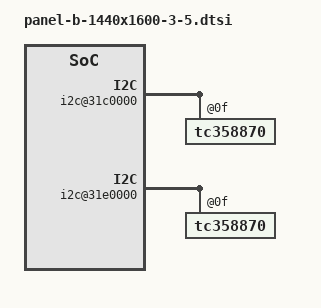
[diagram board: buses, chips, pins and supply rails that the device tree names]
/*
 * arch/arm/boot/dts/panel-b-1440-1600-3-5.dtsi
 *
 * Copyright (c) 2017, NVIDIA CORPORATION.  All rights reserved.
 *
 * This program is free software; you can redistribute it and/or modify
 * it under the terms of the GNU General Public License as published by
 * the Free Software Foundation; either version 2 of the License, or
 * (at your option) any later version.
 *
 * This program is distributed in the hope that it will be useful, but WITHOUT
 * ANY WARRANTY; without even the implied warranty of MERCHANTABILITY or
 * FITNESS FOR A PARTICULAR PURPOSE.  See the GNU General Public License for
 * more details.
 *
 * You should have received a copy of the GNU General Public License along
 * with this program; if not, write to the Free Software Foundation, Inc.,
 * 51 Franklin Street, Fifth Floor, Boston, MA  02110-1301, USA.
 */
#include <dt-bindings/display/tegra-dc.h>
#include <dt-bindings/display/tegra-panel.h>

/ {
	i2c@31c0000 {
		tc358870@0f {
			panel-b-1440-1600-3-5 {
				status = "okay";
				compatible = "b,1440-1600-3-5";
				nvidia,panel-id = <0>;
				nvidia,dsi-n-data-lanes = <8>;
				nvidia,dsi-init-cmd =
							/* Long  Packet: <PACKETTYPE[u8] COMMANDID[u8] PAYLOADCOUNT[u16] ECC[u8] PAYLOAD[..] CHECKSUM[u16]> */
							/* Short Packet: <PACKETTYPE[u8] COMMANDID[u8] DATA0[u8] DATA1[u8] ECC[u8]> */
							/* For DSI packets each DT cell is interpreted as u8 not u32 */
							<TEGRA_DSI_PACKET_CMD DSI_DCS_WRITE_1_PARAM 0xFF 0xE0 0x0>,
							<TEGRA_DSI_PACKET_CMD DSI_DCS_WRITE_1_PARAM 0xFB 0x01 0x0>,
							<TEGRA_DSI_PACKET_CMD DSI_DCS_WRITE_1_PARAM 0X53 0x22 0x0>,
							<TEGRA_DSI_PACKET_CMD DSI_DCS_WRITE_1_PARAM 0XFF 0x25 0x0>,
							<TEGRA_DSI_PACKET_CMD DSI_DCS_WRITE_1_PARAM 0xFB 0x01 0x0>,
							<TEGRA_DSI_PACKET_CMD DSI_DCS_WRITE_1_PARAM 0xC4 0x10 0x0>,
							<TEGRA_DSI_PACKET_CMD DSI_DCS_WRITE_1_PARAM 0x62 0x60 0x0>,
							<TEGRA_DSI_PACKET_CMD DSI_DCS_WRITE_1_PARAM 0x66 0x40 0x0>,
							<TEGRA_DSI_PACKET_CMD DSI_DCS_WRITE_1_PARAM 0x67 0x3C 0x0>,
							<TEGRA_DSI_PACKET_CMD DSI_DCS_WRITE_1_PARAM 0xFF 0x10 0x0>,
							<TEGRA_DSI_PACKET_CMD DSI_DCS_WRITE_1_PARAM 0xFB 0x01 0x0>,
							<TEGRA_DSI_PACKET_CMD DSI_DCS_WRITE_1_PARAM 0xC0 0x80 0x0>,
							<TEGRA_DSI_PACKET_CMD DSI_DCS_LONG_WRITE 0x08 0x0 0x0 0x05 0x00 0xBE 0x01 0xC6 0x00 0x32 0x00 0x0 0x0>,
							/* Set display mode to Video mode  */
							<TEGRA_DSI_PACKET_CMD DSI_DCS_WRITE_1_PARAM 0xBB 0x03 0x0>,
							<TEGRA_DSI_PACKET_CMD DSI_DCS_WRITE_1_PARAM 0x35 0x00 0x0>,
							/* Scan direction */
							<TEGRA_DSI_PACKET_CMD DSI_DCS_WRITE_1_PARAM 0x36 0x00 0x0>;
				nvidia,dsi-n-init-cmd = <16>;
				nvidia,dsi-postvideo-cmd =
							/* MCAP */
							<TEGRA_DSI_PACKET_CMD DSI_GENERIC_SHORT_WRITE_2_PARAMS 0xB0 0x00 0x0>,
							<TEGRA_DSI_DELAY_US 200>,
							/* Interface Setting */
							<TEGRA_DSI_PACKET_CMD DSI_GENERIC_SHORT_WRITE_2_PARAMS 0xB3 0x14 0x0>,
							<TEGRA_DSI_DELAY_US 200>,
							/* MCAP */
							<TEGRA_DSI_PACKET_CMD DSI_GENERIC_SHORT_WRITE_2_PARAMS 0xB0 0x03 0x0>,
							<TEGRA_DSI_DELAY_US 200>,
							<TEGRA_DSI_DELAY_US 200>,
							<TEGRA_DSI_PACKET_CMD DSI_DCS_WRITE_0_PARAM DSI_DCS_EXIT_SLEEP_MODE 0x0 0x0>,
							<TEGRA_DSI_DELAY_MS 200>,
							<TEGRA_DSI_PACKET_CMD DSI_DCS_WRITE_0_PARAM DSI_DCS_SET_DISPLAY_ON 0x0 0x0>,
							<TEGRA_DSI_DELAY_US 200>;
				nvidia,dsi-n-postvideo-cmd = <11>;
				nvidia,dsi-suspend-cmd =
							<TEGRA_DSI_PACKET_CMD DSI_DCS_WRITE_0_PARAM DSI_DCS_SET_DISPLAY_OFF 0x0 0x0>,
							<TEGRA_DSI_DELAY_MS 20>,
							<TEGRA_DSI_PACKET_CMD DSI_DCS_WRITE_0_PARAM DSI_DCS_ENTER_SLEEP_MODE 0x0 0x0>,
							<TEGRA_DSI_DELAY_MS 20>;
				nvidia,dsi-n-suspend-cmd = <4>;
			};
		};
	};
	i2c@31e0000 {
		tc358870@0f {
			panel-b-1440-1600-3-5 {
				status = "okay";
				compatible = "b,1440-1600-3-5";
				nvidia,panel-id = <1>;
				nvidia,dsi-n-data-lanes = <8>;
				nvidia,dsi-init-cmd =
							/* Long  Packet: <PACKETTYPE[u8] COMMANDID[u8] PAYLOADCOUNT[u16] ECC[u8] PAYLOAD[..] CHECKSUM[u16]> */
							/* Short Packet: <PACKETTYPE[u8] COMMANDID[u8] DATA0[u8] DATA1[u8] ECC[u8]> */
							/* For DSI packets each DT cell is interpreted as u8 not u32 */
							<TEGRA_DSI_PACKET_CMD DSI_DCS_WRITE_1_PARAM 0xFF 0xE0 0x0>,
							<TEGRA_DSI_PACKET_CMD DSI_DCS_WRITE_1_PARAM 0xFB 0x01 0x0>,
							<TEGRA_DSI_PACKET_CMD DSI_DCS_WRITE_1_PARAM 0X53 0x22 0x0>,
							<TEGRA_DSI_PACKET_CMD DSI_DCS_WRITE_1_PARAM 0XFF 0x25 0x0>,
							<TEGRA_DSI_PACKET_CMD DSI_DCS_WRITE_1_PARAM 0xFB 0x01 0x0>,
							<TEGRA_DSI_PACKET_CMD DSI_DCS_WRITE_1_PARAM 0xC4 0x10 0x0>,
							<TEGRA_DSI_PACKET_CMD DSI_DCS_WRITE_1_PARAM 0x62 0x60 0x0>,
							<TEGRA_DSI_PACKET_CMD DSI_DCS_WRITE_1_PARAM 0x66 0x40 0x0>,
							<TEGRA_DSI_PACKET_CMD DSI_DCS_WRITE_1_PARAM 0x67 0x3C 0x0>,
							<TEGRA_DSI_PACKET_CMD DSI_DCS_WRITE_1_PARAM 0xFF 0x10 0x0>,
							<TEGRA_DSI_PACKET_CMD DSI_DCS_WRITE_1_PARAM 0xFB 0x01 0x0>,
							<TEGRA_DSI_PACKET_CMD DSI_DCS_WRITE_1_PARAM 0xC0 0x80 0x0>,
							<TEGRA_DSI_PACKET_CMD DSI_DCS_LONG_WRITE 0x08 0x0 0x0 0x05 0x00 0xBE 0x01 0xC6 0x00 0x32 0x00 0x0 0x0>,
							/* Set display mode to Video mode  */
							<TEGRA_DSI_PACKET_CMD DSI_DCS_WRITE_1_PARAM 0xBB 0x03 0x0>,
							<TEGRA_DSI_PACKET_CMD DSI_DCS_WRITE_1_PARAM 0x35 0x00 0x0>,
							/* Reverse scan direction for 2nd panel */
							<TEGRA_DSI_PACKET_CMD DSI_DCS_WRITE_1_PARAM 0x36 0x03 0x0>;
				nvidia,dsi-n-init-cmd = <16>;
				nvidia,dsi-postvideo-cmd =
							/* MCAP */
							<TEGRA_DSI_PACKET_CMD DSI_GENERIC_SHORT_WRITE_2_PARAMS 0xB0 0x00 0x0>,
							<TEGRA_DSI_DELAY_US 200>,
							/* Interface Setting */
							<TEGRA_DSI_PACKET_CMD DSI_GENERIC_SHORT_WRITE_2_PARAMS 0xB3 0x14 0x0>,
							<TEGRA_DSI_DELAY_US 200>,
							/* MCAP */
							<TEGRA_DSI_PACKET_CMD DSI_GENERIC_SHORT_WRITE_2_PARAMS 0xB0 0x03 0x0>,
							<TEGRA_DSI_DELAY_US 200>,
							<TEGRA_DSI_DELAY_US 200>,
							<TEGRA_DSI_PACKET_CMD DSI_DCS_WRITE_0_PARAM DSI_DCS_EXIT_SLEEP_MODE 0x0 0x0>,
							<TEGRA_DSI_DELAY_MS 200>,
							<TEGRA_DSI_PACKET_CMD DSI_DCS_WRITE_0_PARAM DSI_DCS_SET_DISPLAY_ON 0x0 0x0>,
							<TEGRA_DSI_DELAY_US 200>;
				nvidia,dsi-n-postvideo-cmd = <11>;
				nvidia,dsi-suspend-cmd =
							<TEGRA_DSI_PACKET_CMD DSI_DCS_WRITE_0_PARAM DSI_DCS_SET_DISPLAY_OFF 0x0 0x0>,
							<TEGRA_DSI_DELAY_MS 20>,
							<TEGRA_DSI_PACKET_CMD DSI_DCS_WRITE_0_PARAM DSI_DCS_ENTER_SLEEP_MODE 0x0 0x0>,
							<TEGRA_DSI_DELAY_MS 20>;
				nvidia,dsi-n-suspend-cmd = <4>;
			};
		};
	};
};
